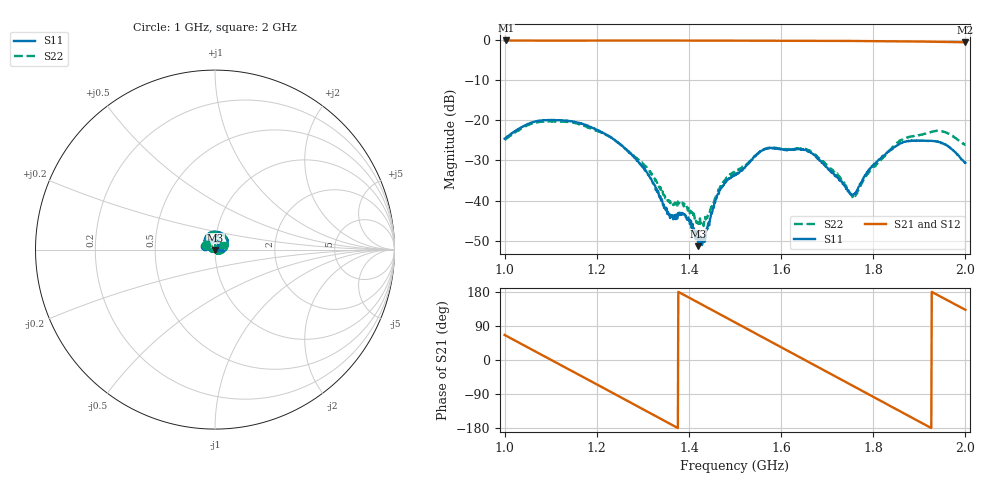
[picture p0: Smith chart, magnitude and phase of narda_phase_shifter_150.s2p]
#  HZ  S  DB  R  50.00
! Rohde & Schwarz Vector Network Analyzer
! Rohde-Schwarz,ZNB8-4Port,1311601044102961,2.82
! Created: UTC 3/4/2022, 4:07:42 PM
! freq[Hz]  db:S11  ang:S11  db:S21  ang:S21  db:S12  ang:S12  db:S22  ang:S22
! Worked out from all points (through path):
!   1001 points, 1 GHz to 2 GHz, reference 50 ohm
!   highest |S21| = -0.19 dB at 1.003 GHz (marker M1); lowest = -0.6 dB at 2 GHz (marker M2)
!   group delay of S21, straight-line fit = 1.82 ns
!   lowest |S11| = -51.3 dB at 1.42 GHz (marker M3), VSWR 1.01, Z = 50.1 - j0.237 ohm
!   |S11| at or under -10 dB: start of sweep to end of sweep
!   |S22| runs from -46.3 to -20.3 dB; largest |S21 - S12| = 0.0024
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1e9  -24.60 157.3  -0.19 66.1  -0.18 66.1  -24.93 154.7
1.003e9  -24.38 155.7  -0.19 64.2  -0.18 64.1  -24.65 152.5
1.087e9  -19.97 97.9  -0.22 9.3  -0.22 9.3  -20.32 97.0
1.126e9  -20.07 72.8  -0.23 -16.1  -0.22 -16.1  -20.34 69.7
1.167e9  -20.90 42.7  -0.22 -42.8  -0.21 -42.8  -21.17 44.2
1.21e9  -22.94 16.4  -0.22 -70.8  -0.21 -70.8  -23.17 11.4
1.249e9  -25.82 -13.3  -0.21 -96.3  -0.21 -96.4  -25.88 -11.2
1.334e9  -38.15 -71.6  -0.21 -152.0  -0.21 -152.0  -36.06 -74.8
1.358e9  -43.69 -75.9  -0.21 -167.8  -0.21 -167.8  -40.11 -100.9
1.378e9  -43.60 -57.7  -0.22 179.2  -0.21 179.2  -40.60 -120.2
1.42e9  -51.33 -60.4  -0.22 151.7  -0.22 151.7  -45.30 -112.6
1.431e9  -49.20 -87.7  -0.22 144.4  -0.22 144.5  -45.50 -99.7
1.466e9  -37.39 -126.0  -0.23 121.6  -0.23 121.6  -37.15 -132.5
1.5e9  -33.63 -162.8  -0.24 99.3  -0.23 99.3  -32.61 -150.8
1.545e9  -28.88 162.4  -0.25 69.9  -0.25 69.9  -28.83 175.9
1.595e9  -27.10 124.2  -0.26 37.2  -0.26 37.2  -27.09 146.6
1.667e9  -28.28 66.8  -0.28 -9.9  -0.28 -9.9  -27.87 104.7
1.709e9  -32.67 24.3  -0.30 -37.4  -0.29 -37.4  -32.29 88.5
1.757e9  -38.52 -79.9  -0.30 -68.9  -0.30 -68.9  -38.96 123.7
1.834e9  -27.75 160.4  -0.36 -119.5  -0.36 -119.4  -27.63 148.4
1.917e9  -25.15 96.3  -0.48 -173.7  -0.48 -173.7  -23.27 98.0
2e9  -30.61 16.0  -0.64 132.5  -0.64 132.5  -26.10 27.7
